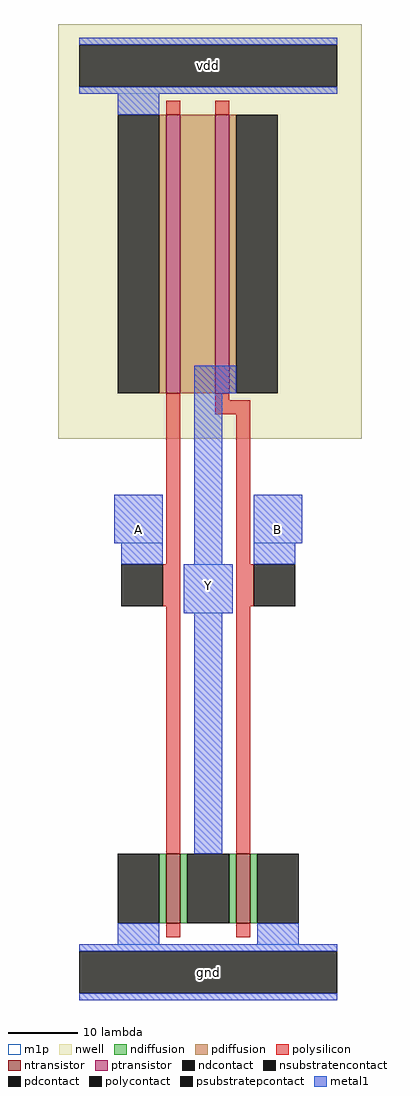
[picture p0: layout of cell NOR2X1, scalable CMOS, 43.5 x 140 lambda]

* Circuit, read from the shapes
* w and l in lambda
.subckt NOR2X1 A B Y vdd gnd
M1 Y A gnd gnd nfet w=10 l=2
M2 gnd B Y gnd nfet w=10 l=2
M3 n1 A vdd vdd pfet w=40 l=2
M4 Y B n1 vdd pfet w=40 l=2
.ends

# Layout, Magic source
magic
tech scmos
magscale 1 2
<< nwell >>
rect -13 153 74 272
<< ntransistor >>
rect 18 14 22 34
rect 38 14 42 34
<< ptransistor >>
rect 18 166 22 246
rect 32 166 36 246
<< ndiffusion >>
rect 16 14 18 34
rect 22 14 24 34
rect 36 14 38 34
rect 42 14 44 34
<< pdiffusion >>
rect 16 166 18 246
rect 22 166 32 246
rect 36 166 38 246
<< ndcontact >>
rect 4 14 16 34
rect 24 14 36 34
rect 44 14 56 34
<< pdcontact >>
rect 4 166 16 246
rect 38 166 50 246
<< psubstratepcontact >>
rect -7 -6 67 6
<< nsubstratencontact >>
rect -7 254 67 266
<< polysilicon >>
rect 18 246 22 250
rect 32 246 36 250
rect 18 117 22 166
rect 32 164 36 166
rect 32 160 42 164
rect 17 105 22 117
rect 18 34 22 105
rect 38 117 42 160
rect 38 105 43 117
rect 38 34 42 105
rect 18 10 22 14
rect 38 10 42 14
<< polycontact >>
rect 5 105 17 117
rect 43 105 55 117
<< metal1 >>
rect -7 266 67 268
rect -7 252 67 254
rect 4 246 16 252
rect 26 166 38 174
rect 3 123 17 137
rect 5 117 17 123
rect 26 117 34 166
rect 43 123 57 137
rect 43 117 55 123
rect 23 103 37 117
rect 26 34 34 103
rect 4 8 16 14
rect 44 8 56 14
rect -7 6 67 8
rect -7 -8 67 -6
<< m1p >>
rect -7 252 67 268
rect 3 123 17 137
rect 43 123 57 137
rect 23 103 37 117
rect -7 -8 67 8
<< labels >>
rlabel nsubstratencontact 30 260 30 260 0 vdd
port 4 nsew power bidirectional abutment
rlabel psubstratepcontact 30 0 30 0 0 gnd
port 5 nsew ground bidirectional abutment
rlabel metal1 10 127 10 127 0 A
port 1 nsew signal input
rlabel metal1 50 127 50 127 0 B
port 2 nsew signal input
rlabel metal1 30 111 30 111 0 Y
port 3 nsew signal output
<< properties >>
string FIXED_BBOX 0 0 60 260
string LEFclass CORE
string LEFsite core
string LEFsymmetry X Y
<< end >>
